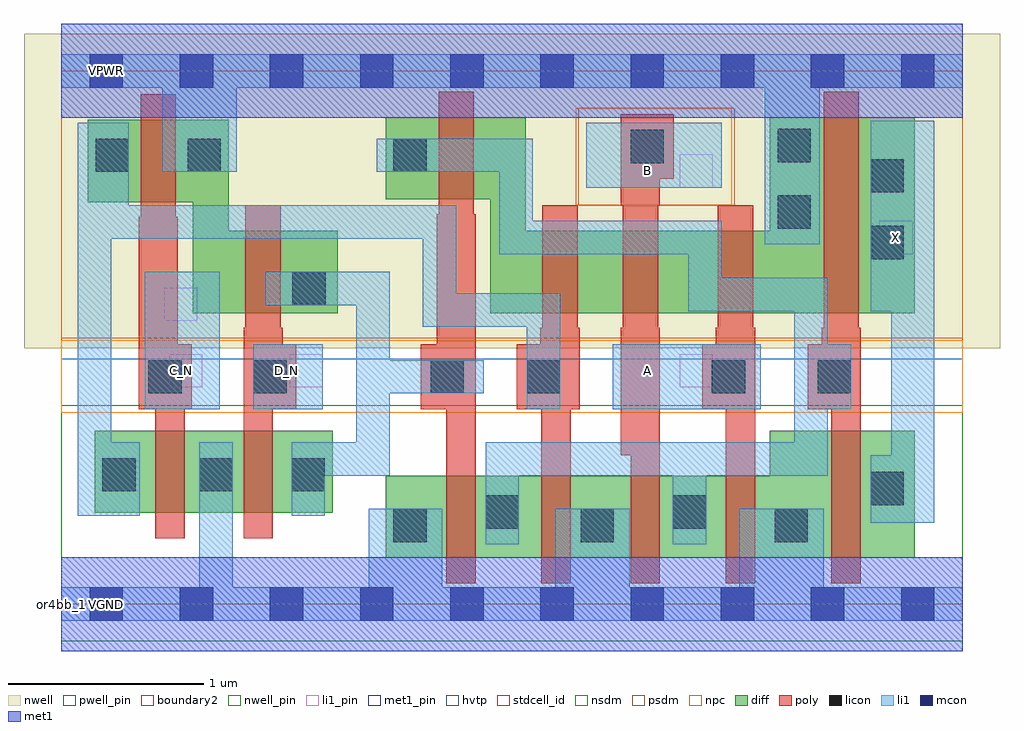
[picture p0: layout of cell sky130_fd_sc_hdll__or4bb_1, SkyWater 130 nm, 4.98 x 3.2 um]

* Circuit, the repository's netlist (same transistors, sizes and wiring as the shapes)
* Copyright 2020 The SkyWater PDK Authors
*
* Licensed under the Apache License, Version 2.0 (the "License");
* you may not use this file except in compliance with the License.
* You may obtain a copy of the License at
*
*     https://www.apache.org/licenses/LICENSE-2.0
*
* Unless required by applicable law or agreed to in writing, software
* distributed under the License is distributed on an "AS IS" BASIS,
* WITHOUT WARRANTIES OR CONDITIONS OF ANY KIND, either express or implied.
* See the License for the specific language governing permissions and
* limitations under the License.
*
* SPDX-License-Identifier: Apache-2.0

.SUBCKT sky130_fd_sc_hdll__or4bb_1 A B C_N D_N VGND VNB VPB VPWR X
*.PININFO A:I B:I C_N:I D_N:I VGND:I VNB:I VPB:I VPWR:I X:O
MMP0 VPWR A sndPA VPB sky130_fd_pr__pfet_01v8_hvt m=1 w=0.42U l=0.18U mult=1 sa=0.265
+ sb=0.265 sd=0.28 area=0.063 perim=1.14
MMP1 sndPA B sndPB VPB sky130_fd_pr__pfet_01v8_hvt m=1 w=0.42U l=0.18U mult=1 sa=0.265
+ sb=0.265 sd=0.28 area=0.063 perim=1.14
MMP2 sndPB C sndPC VPB sky130_fd_pr__pfet_01v8_hvt m=1 w=0.42U l=0.18U mult=1 sa=0.265
+ sb=0.265 sd=0.28 area=0.063 perim=1.14
MMP3 sndPC D y VPB sky130_fd_pr__pfet_01v8_hvt m=1 w=0.42U l=0.18U mult=1 sa=0.265
+ sb=0.265 sd=0.28 area=0.063 perim=1.14
MMIP2 C C_N VPWR VPB sky130_fd_pr__pfet_01v8_hvt m=1 w=0.42U l=0.18U mult=1 sa=0.265
+ sb=0.265 sd=0.28 area=0.063 perim=1.14
MMIP3 D D_N VPWR VPB sky130_fd_pr__pfet_01v8_hvt m=1 w=0.42U l=0.18U mult=1 sa=0.265
+ sb=0.265 sd=0.28 area=0.063 perim=1.14
MMIP4 X y VPWR VPB sky130_fd_pr__pfet_01v8_hvt m=1 w=1.0U l=0.18U mult=1 sa=0.265
+ sb=0.265 sd=0.28 area=0.063 perim=1.14
MMN0 y A VGND VNB sky130_fd_pr__nfet_01v8 m=1 w=0.42U l=0.15U mult=1 sa=0.265 sb=0.265
+ sd=0.28 area=0.063 perim=1.14
MMN1 y B VGND VNB sky130_fd_pr__nfet_01v8 m=1 w=0.42U l=0.15U mult=1 sa=0.265 sb=0.265
+ sd=0.28 area=0.063 perim=1.14
MMN2 y C VGND VNB sky130_fd_pr__nfet_01v8 m=1 w=0.42U l=0.15U mult=1 sa=0.265 sb=0.265
+ sd=0.28 area=0.063 perim=1.14
MMN3 y D VGND VNB sky130_fd_pr__nfet_01v8 m=1 w=0.42U l=0.15U mult=1 sa=0.265 sb=0.265
+ sd=0.28 area=0.063 perim=1.14
MMIN2 C C_N VGND VNB sky130_fd_pr__nfet_01v8 m=1 w=0.42U l=0.15U mult=1 sa=0.265
+ sb=0.265 sd=0.28 area=0.063 perim=1.14
MMIN3 D D_N VGND VNB sky130_fd_pr__nfet_01v8 m=1 w=0.42U l=0.15U mult=1 sa=0.265
+ sb=0.265 sd=0.28 area=0.063 perim=1.14
MMIN4 X y VGND VNB sky130_fd_pr__nfet_01v8 m=1 w=0.65U l=0.15U mult=1 sa=0.265
+ sb=0.265 sd=0.28 area=0.063 perim=1.14
.ENDS sky130_fd_sc_hdll__or4bb_1

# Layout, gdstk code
import gdstk
lib = gdstk.Library(unit=1e-6, precision=1e-09)
def R(c, l, rs):  # rectangles x0, y0, x1, y1
    for r in rs: c.add(gdstk.rectangle(r[:2], r[2:], *l))
def A(c, l, x, y, w, h, nx, ny, dx, dy):  # array of equal rectangles
    R(c, l, [(x+i*dx, y+j*dy, x+i*dx+w, y+j*dy+h) for i in range(nx) for j in range(ny)])
def P(c, l, *ps):  # polygons
    for p in ps: c.add(gdstk.Polygon(p, *l))
nwell_pin = (64, 16)
nwell = (64, 20)
diff = (65, 20)
poly = (66, 20)
licon = (66, 44)
li1_pin = (67, 16)
li1 = (67, 20)
mcon = (67, 44)
met1_pin = (68, 16)
met1 = (68, 20)
hvtp = (78, 44)
stdcell_id = (81, 4)
nsdm = (93, 44)
psdm = (94, 20)
npc = (95, 20)
pwell_pin = (122, 16)
boundary2 = (236, 0)

sky130_fd_sc_hdll__or4bb = lib.new_cell('sky130_fd_sc_hdll__or4bb_1')
R(sky130_fd_sc_hdll__or4bb, nwell_pin, [(0.145,2.635,0.315,2.805)])
R(sky130_fd_sc_hdll__or4bb, nwell, [(-0.19,1.305,4.79,2.91)])
R(sky130_fd_sc_hdll__or4bb, diff, [(0.17,0.465,1.385,0.885)])
P(sky130_fd_sc_hdll__or4bb, diff, [(4.355,2.485),(3.615,2.485),(3.615,1.905),(2.37,1.905),(2.37,2.485),(1.655,2.485),(1.655,2.065),(2.19,2.065),(2.19,1.485),(4.355,1.485)],
  [(1.41,1.905),(0.855,1.905),(0.855,2.47),(0.135,2.47),(0.135,2.05),(0.67,2.05),(0.67,1.485),(1.41,1.485)],
  [(4.355,0.885),(3.615,0.885),(3.615,0.655),(1.655,0.655),(1.655,0.235),(4.355,0.235)])
P(sky130_fd_sc_hdll__or4bb, poly, [(0.665,1.325),(0.595,1.325),(0.595,1.975),(0.585,1.975),(0.585,2.6),(0.405,2.6),(0.405,1.975),(0.395,1.975),(0.395,0.995),(0.48,0.995),(0.48,0.335),(0.63,0.335),(0.63,0.995),(0.665,0.995)],
  [(1.2,1.325),(1.13,1.325),(1.13,1.41),(1.12,1.41),(1.12,2.035),(0.94,2.035),(0.94,1.41),(0.93,1.41),(0.93,0.335),(1.08,0.335),(1.08,0.995),(1.2,0.995)],
  [(2.115,1.99),(2.105,1.99),(2.105,2.615),(1.925,2.615),(1.925,1.99),(1.915,1.99),(1.915,1.325),(1.835,1.325),(1.835,0.995),(1.965,0.995),(1.965,0.105),(2.115,0.105)],
  [(2.645,1.41),(2.635,1.41),(2.635,2.035),(2.455,2.035),(2.455,1.41),(2.445,1.41),(2.445,1.325),(2.325,1.325),(2.325,0.995),(2.45,0.995),(2.45,0.105),(2.6,0.105),(2.6,0.995),(2.645,0.995)],
  [(3.125,2.5),(2.855,2.5),(2.855,2.035),(2.865,2.035),(2.865,1.41),(2.855,1.41),(2.855,0.76),(2.905,0.76),(2.905,0.105),(3.055,0.105),(3.055,1.41),(3.045,1.41),(3.045,2.035),(3.055,2.035),(3.055,2.17),(3.125,2.17)],
  [(3.54,1.41),(3.53,1.41),(3.53,2.035),(3.35,2.035),(3.35,1.41),(3.34,1.41),(3.34,1.325),(3.27,1.325),(3.27,0.995),(3.39,0.995),(3.39,0.105),(3.54,0.105)],
  [(4.08,1.41),(4.07,1.41),(4.07,2.615),(3.89,2.615),(3.89,1.41),(3.88,1.41),(3.88,1.325),(3.81,1.325),(3.81,0.995),(3.93,0.995),(3.93,0.105),(4.08,0.105)])
R(sky130_fd_sc_hdll__or4bb, licon, [(1.695,0.315,1.865,0.485), (2.65,0.315,2.82,0.485), (3.64,0.315,3.81,0.485), (2.165,0.385,2.335,0.555), (3.12,0.385,3.29,0.555), (4.13,0.505,4.3,0.675), (0.21,0.575,0.38,0.745), (0.705,0.575,0.875,0.745), (1.175,0.575,1.345,0.745), (0.445,1.075,0.615,1.245), (0.98,1.075,1.15,1.245), (1.885,1.075,2.055,1.245), (2.375,1.075,2.545,1.245), (3.32,1.075,3.49,1.245), (3.86,1.075,4.03,1.245), (1.18,1.525,1.35,1.695), (4.13,1.76,4.3,1.93), (3.655,1.915,3.825,2.085), (4.13,2.1,4.3,2.27), (0.175,2.205,0.345,2.375), (0.645,2.205,0.815,2.375), (1.695,2.205,1.865,2.375), (2.905,2.25,3.075,2.42), (3.655,2.255,3.825,2.425)])
R(sky130_fd_sc_hdll__or4bb, li1_pin, [(0.55,1.105,0.72,1.275), (1.165,1.105,1.335,1.275), (3.155,1.105,3.325,1.275), (0.525,1.445,0.695,1.615), (4.175,1.785,4.345,1.955), (3.155,2.125,3.325,2.295)])
R(sky130_fd_sc_hdll__or4bb, li1, [(0.425,0.995,0.81,1.695), (0.98,0.995,1.335,1.325), (2.815,0.995,3.57,1.325), (2.68,2.125,3.37,2.455)])
P(sky130_fd_sc_hdll__or4bb, li1, [(4.455,2.465),(4.13,2.465),(4.13,1.495),(4.235,1.495),(4.235,0.76),(4.13,0.76),(4.13,0.415),(4.455,0.415)],
  [(4.03,1.325),(3.91,1.325),(3.91,1.665),(3.37,1.665),(3.37,1.955),(2.405,1.955),(2.405,2.375),(1.61,2.375),(1.61,2.205),(2.235,2.205),(2.235,1.785),(3.2,1.785),(3.2,1.495),(3.74,1.495),(3.74,0.825),(2.165,0.825),(2.165,0.305),(2.335,0.305),(2.335,0.655),(3.12,0.655),(3.12,0.305),(3.29,0.305),(3.29,0.655),(3.91,0.655),(3.91,0.995),(4.03,0.995)],
  [(2.155,1.245),(1.675,1.245),(1.675,1.695),(1.04,1.695),(1.04,1.525),(1.505,1.525),(1.505,0.825),(1.175,0.825),(1.175,0.45),(1.345,0.45),(1.345,0.655),(1.675,0.655),(1.675,1.075),(2.155,1.075)],
  [(2.545,1.585),(2.015,1.585),(2.015,2.035),(0.345,2.035),(0.345,2.455),(0.085,2.455),(0.085,0.45),(0.4,0.45),(0.4,0.825),(0.255,0.825),(0.255,1.865),(1.845,1.865),(1.845,1.415),(2.375,1.415),(2.375,0.995),(2.545,0.995)],
  [(4.6,2.805),(0,2.805),(0,2.635),(0.515,2.635),(0.515,2.205),(0.895,2.205),(0.895,2.635),(3.59,2.635),(3.59,1.835),(3.87,1.835),(3.87,2.635),(4.6,2.635)],
  [(4.6,0.085),(3.89,0.085),(3.89,0.485),(3.46,0.485),(3.46,0.085),(2.9,0.085),(2.9,0.485),(2.52,0.485),(2.52,0.085),(1.945,0.085),(1.945,0.485),(1.57,0.485),(1.57,0.085),(0.875,0.085),(0.875,0.825),(0.705,0.825),(0.705,0.085),(0,0.085),(0,-0.085),(4.6,-0.085)])
A(sky130_fd_sc_hdll__or4bb, mcon, 0.145, -0.085, 0.17, 0.17, 10, 2, 0.46, 2.72)
R(sky130_fd_sc_hdll__or4bb, met1_pin, [(0.145,-0.085,0.315,0.085), (0.145,2.635,0.315,2.805)])
R(sky130_fd_sc_hdll__or4bb, met1, [(0,-0.24,4.6,0.24), (0,2.48,4.6,2.96)])
R(sky130_fd_sc_hdll__or4bb, hvtp, [(0,1.25,4.6,2.72)])
R(sky130_fd_sc_hdll__or4bb, stdcell_id, [(0,0,4.6,2.72)])
R(sky130_fd_sc_hdll__or4bb, nsdm, [(0,-0.19,4.6,1.015)])
P(sky130_fd_sc_hdll__or4bb, psdm, [(4.6,2.91),(3.435,2.91),(3.435,2.035),(2.64,2.035),(2.64,2.53),(3.435,2.53),(3.435,2.91),(0,2.91),(0,1.355),(4.6,1.355)])
R(sky130_fd_sc_hdll__or4bb, npc, [(0,0.975,4.6,1.345), (2.625,2.035,3.42,2.53)])
R(sky130_fd_sc_hdll__or4bb, pwell_pin, [(0.145,-0.085,0.315,0.085)])
R(sky130_fd_sc_hdll__or4bb, boundary2, [(0,0,4.6,2.72)])
sky130_fd_sc_hdll__or4bb.add(gdstk.Label('A', (2.99,1.19), layer=67, texttype=5))
sky130_fd_sc_hdll__or4bb.add(gdstk.Label('X', (4.255,1.87), layer=67, texttype=5))
sky130_fd_sc_hdll__or4bb.add(gdstk.Label('B', (2.99,2.21), layer=67, texttype=5))
sky130_fd_sc_hdll__or4bb.add(gdstk.Label('D_N', (1.15,1.19), layer=67, texttype=5))
sky130_fd_sc_hdll__or4bb.add(gdstk.Label('C_N', (0.615,1.19), layer=67, texttype=5))
sky130_fd_sc_hdll__or4bb.add(gdstk.Label('VPWR', (0.23,2.72), layer=68, texttype=5))
sky130_fd_sc_hdll__or4bb.add(gdstk.Label('VGND', (0.23,0), layer=68, texttype=5))
sky130_fd_sc_hdll__or4bb.add(gdstk.Label('VPB', (0.23,2.72), layer=64, texttype=5))
sky130_fd_sc_hdll__or4bb.add(gdstk.Label('VNB', (0.23,0), layer=64, texttype=59))
sky130_fd_sc_hdll__or4bb.add(gdstk.Label('or4bb_1', (0,0), layer=83, texttype=44))

lib.write_gds('sky130_fd_sc_hdll__or4bb_1.gds')
